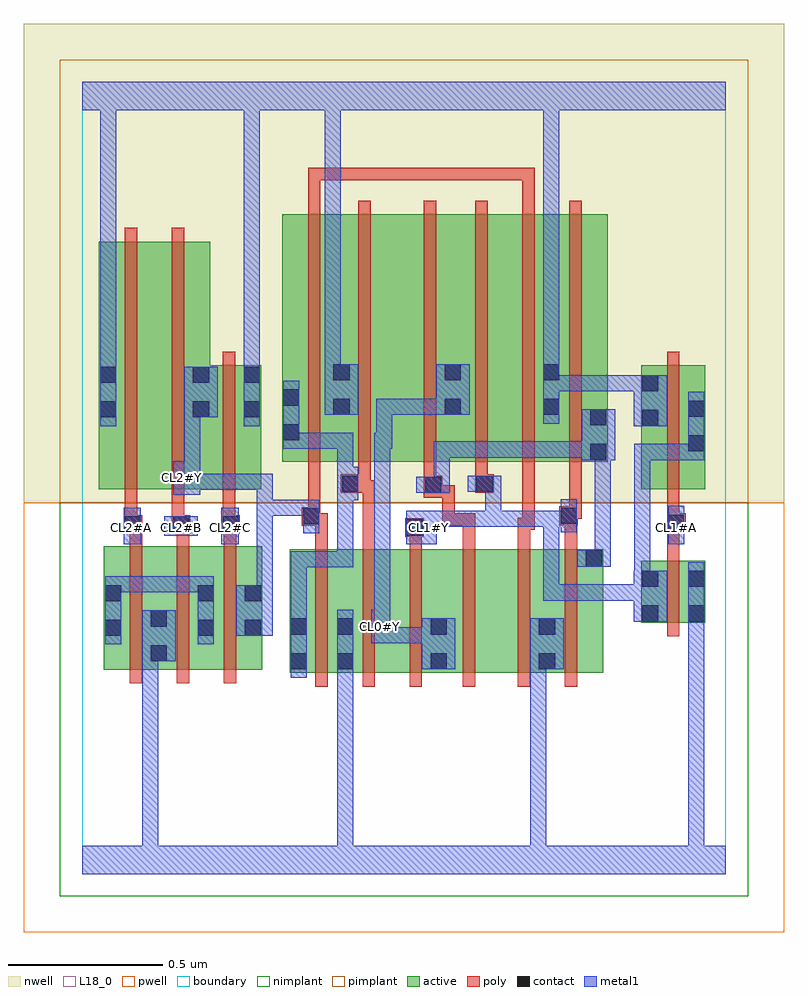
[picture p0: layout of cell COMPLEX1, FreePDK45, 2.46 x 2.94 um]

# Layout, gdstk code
import gdstk
lib = gdstk.Library(unit=1e-6, precision=1e-09)
def R(c, l, rs):  # rectangles x0, y0, x1, y1
    for r in rs: c.add(gdstk.rectangle(r[:2], r[2:], *l))
def A(c, l, x, y, w, h, nx, ny, dx, dy):  # array of equal rectangles
    R(c, l, [(x+i*dx, y+j*dy, x+i*dx+w, y+j*dy+h) for i in range(nx) for j in range(ny)])
active = (1, 0)
pwell = (2, 0)
nwell = (3, 0)
nimplant = (4, 0)
pimplant = (5, 0)
poly = (9, 0)
contact = (10, 0)
metal1 = (11, 0)
L18_0 = (18, 0)
boundary = (235, 0)

complex1 = lib.new_cell('COMPLEX1')
R(complex1, active, [(0.67,0.65,0.88,1.05), (0.67,0.65,0.73,1.05), (0.82,0.65,0.88,0.83), (0.82,0.65,1.002,1.05), (1.002,0.65,1.182,1.05), (1.122,0.65,1.182,0.83), (1.122,0.65,1.326,1.05), (1.326,0.65,1.532,1.05), (1.472,0.65,1.684,1.05), (1.472,0.65,1.532,0.83), (0.07,0.66,0.13,1.06), (0.07,0.66,0.278,1.06), (0.218,0.66,0.43,1.06), (0.218,0.66,0.278,0.93), (0.37,0.66,0.582,1.06), (0.37,0.66,0.43,1.012), (0.522,0.66,0.582,1.06), (1.624,0.756,1.684,1.05), (1.806,0.812,1.866,1.012), (1.806,0.812,2.014,1.012), (1.954,0.812,2.014,1.012), (0.054,1.244,0.234,2.044), (0.054,1.244,0.114,2.044), (0.234,1.244,0.414,2.044), (0.354,1.244,0.414,1.644), (0.354,1.244,0.578,1.644), (0.518,1.244,0.578,1.644), (1.806,1.244,1.866,1.644), (1.806,1.244,2.014,1.644), (1.954,1.244,2.014,1.644), (0.646,1.332,0.706,2.044), (0.646,1.332,0.868,2.132), (0.808,1.332,0.988,2.132), (0.988,1.332,1.228,2.132), (1.168,1.332,1.366,2.132), (1.366,1.332,1.546,2.132), (1.486,1.332,1.546,2.044), (1.486,1.332,1.698,2.132), (1.638,1.332,1.698,2.044), (1.168,1.354,1.228,2.044), (0.808,1.39,0.868,2.044)])
R(complex1, pwell, [(-0.188,-0.188,2.268,1.2)])
R(complex1, nwell, [(-0.188,1.2,2.268,2.748)])
R(complex1, nimplant, [(-0.072,-0.072,2.152,1.2)])
R(complex1, pimplant, [(-0.072,1.2,2.152,2.632)])
A(complex1, poly, 0.754, 0.606, 0.04, 0.488, 3, 1, 0.152, 0)
A(complex1, poly, 0.154, 0.616, 0.04, 0.488, 3, 1, 0.152, 0)
A(complex1, poly, 0.154, 1.064, 0.04, 0.076, 3, 1, 0.152, 0)
A(complex1, poly, 1.27, 1.288, 0.04, 0.888, 3, 1, 0.152, 0)
R(complex1, poly, [(1.23,0.606,1.27,1.094), (1.408,0.606,1.448,1.094), (1.56,0.606,1.6,1.094), (1.89,0.768,1.93,1.056), (1.89,1.016,1.93,1.146), (0.754,1.054,0.794,1.166), (0.906,1.054,0.946,1.272), (1.058,1.054,1.098,1.13), (1.23,1.054,1.27,1.166), (1.408,1.054,1.448,1.152), (1.56,1.054,1.6,1.168), (1.044,1.09,1.104,1.15), (0.134,1.1,0.194,1.16), (0.29,1.1,0.35,1.16), (0.45,1.1,0.51,1.16), (1.89,1.106,1.93,1.146), (1.89,1.106,1.93,1.146), (1.89,1.106,1.95,1.166), (1.408,1.112,1.462,1.152), (1.422,1.112,1.462,1.152), (1.422,1.112,1.462,1.152), (1.422,1.112,1.462,1.328), (0.138,1.12,0.178,1.16), (0.138,1.12,0.178,1.16), (0.138,1.12,0.178,1.24), (0.29,1.12,0.33,1.16), (0.29,1.12,0.33,1.16), (0.29,1.12,0.33,1.24), (0.454,1.12,0.494,1.16), (0.454,1.12,0.494,1.16), (0.454,1.12,0.494,1.24), (0.71,1.126,0.77,1.186), (0.73,1.126,0.77,1.166), (0.73,1.126,0.794,1.166), (1.164,1.126,1.204,1.166), (1.164,1.126,1.204,1.256), (1.164,1.126,1.27,1.166), (1.23,1.126,1.27,1.166), (1.89,1.126,1.93,1.24), (1.542,1.128,1.602,1.188), (0.73,1.146,0.77,1.328), (1.562,1.148,1.602,1.188), (1.562,1.148,1.614,1.188), (1.574,1.148,1.614,1.328), (0.138,1.2,0.178,2.088), (0.29,1.2,0.33,2.088), (0.454,1.2,0.494,1.688), (1.89,1.2,1.93,1.688), (1.104,1.216,1.164,1.288), (1.124,1.216,1.204,1.256), (1.164,1.216,1.204,1.256), (0.836,1.232,0.932,1.292), (0.892,1.232,0.932,1.272), (0.892,1.232,0.946,1.272), (1.27,1.232,1.33,1.292), (1.104,1.248,1.144,1.328), (0.892,1.252,0.932,1.328), (1.27,1.252,1.31,1.328), (0.73,1.288,0.77,2.176), (0.892,1.288,0.932,2.176), (1.104,1.288,1.144,2.176), (0.73,2.136,0.77,2.282), (1.422,2.136,1.462,2.282), (0.73,2.242,0.77,2.282), (0.73,2.242,0.77,2.282), (0.73,2.242,0.77,2.282), (0.73,2.242,0.978,2.282), (0.938,2.242,0.978,2.282), (0.938,2.242,1.084,2.282), (1.044,2.242,1.084,2.282), (1.044,2.242,1.084,2.282), (1.044,2.242,1.084,2.282), (1.044,2.242,1.342,2.282), (1.302,2.242,1.342,2.282), (1.302,2.242,1.342,2.282), (1.302,2.242,1.342,2.282), (1.302,2.242,1.462,2.282), (1.422,2.242,1.462,2.282), (1.422,2.242,1.462,2.282), (1.422,2.242,1.462,2.282)])
R(complex1, contact, [(0.674,0.662,0.726,0.714), (0.824,0.662,0.876,0.714), (1.126,0.662,1.178,0.714), (1.476,0.662,1.528,0.714), (0.222,0.688,0.274,0.74), (0.074,0.77,0.126,0.822), (0.374,0.77,0.426,0.822), (0.526,0.77,0.578,0.822), (0.674,0.774,0.726,0.826), (0.824,0.774,0.876,0.826), (1.126,0.774,1.178,0.826), (1.476,0.774,1.528,0.826), (0.222,0.8,0.274,0.852), (1.81,0.816,1.862,0.868), (1.958,0.816,2.01,0.868), (0.074,0.882,0.126,0.934), (0.374,0.882,0.426,0.934), (0.526,0.882,0.578,0.934), (1.81,0.928,1.862,0.98), (1.958,0.928,2.01,0.98), (1.628,0.994,1.68,1.046), (1.048,1.094,1.1,1.146), (0.138,1.104,0.19,1.156), (0.294,1.104,0.346,1.156), (0.454,1.104,0.506,1.156), (1.894,1.11,1.946,1.162), (0.714,1.13,0.766,1.182), (1.546,1.132,1.598,1.184), (1.108,1.232,1.16,1.284), (0.84,1.236,0.892,1.288), (1.274,1.236,1.326,1.288), (1.642,1.338,1.694,1.39), (1.958,1.366,2.01,1.418), (0.65,1.402,0.702,1.454), (1.81,1.448,1.862,1.5), (1.642,1.45,1.694,1.502), (0.058,1.476,0.11,1.528), (0.358,1.476,0.41,1.528), (0.522,1.476,0.574,1.528), (1.958,1.478,2.01,1.53), (0.812,1.484,0.864,1.536), (1.172,1.484,1.224,1.536), (1.49,1.484,1.542,1.536), (0.65,1.514,0.702,1.566), (1.81,1.56,1.862,1.612), (0.058,1.588,0.11,1.64), (0.358,1.588,0.41,1.64), (0.522,1.588,0.574,1.64), (0.812,1.596,0.864,1.648), (1.172,1.596,1.224,1.648), (1.49,1.596,1.542,1.648)])
R(complex1, metal1, [(0,0,2.08,0.092), (0.194,0.04,0.246,0.74), (0.824,0.04,0.876,0.092), (0.824,0.04,0.876,0.092), (0.824,0.04,0.876,0.092), (0.824,0.04,0.876,0.092), (0.824,0.04,0.876,0.092), (0.824,0.04,0.876,0.092), (0.824,0.04,0.876,0.092), (0.824,0.04,0.876,0.092), (0.824,0.04,0.876,0.092), (0.824,0.04,0.876,0.092), (0.824,0.04,0.876,0.092), (0.824,0.04,0.876,0.092), (0.824,0.04,0.876,0.686), (1.448,0.04,1.5,0.092), (1.448,0.04,1.5,0.092), (1.448,0.04,1.5,0.092), (1.448,0.04,1.5,0.092), (1.448,0.04,1.5,0.092), (1.448,0.04,1.5,0.092), (1.448,0.04,1.5,0.092), (1.448,0.04,1.5,0.092), (1.448,0.04,1.5,0.714), (1.958,0.04,2.01,0.092), (1.958,0.04,2.01,0.092), (1.958,0.04,2.01,0.092), (1.958,0.04,2.01,0.092), (1.958,0.04,2.01,0.092), (1.958,0.04,2.01,0.092), (1.958,0.04,2.01,0.604), (1.958,0.552,2.01,0.604), (1.958,0.552,2.01,0.604), (1.958,0.552,2.01,0.604), (1.958,0.552,2.01,0.604), (1.958,0.552,2.01,0.604), (1.958,0.552,2.01,0.604), (1.958,0.552,2.01,0.604), (1.958,0.552,2.01,0.604), (1.958,0.552,2.01,0.604), (1.958,0.552,2.01,0.84), (0.674,0.634,0.726,0.854), (0.824,0.634,0.876,0.854), (1.098,0.662,1.206,0.826), (1.448,0.662,1.5,0.714), (1.448,0.662,1.5,0.714), (1.448,0.662,1.5,0.714), (1.448,0.662,1.5,0.714), (1.448,0.662,1.556,0.826), (0.194,0.688,0.246,0.74), (0.194,0.688,0.246,0.74), (0.194,0.688,0.246,0.74), (0.194,0.688,0.246,0.74), (0.194,0.688,0.246,0.74), (0.194,0.688,0.246,0.74), (0.194,0.688,0.246,0.74), (0.194,0.688,0.246,0.74), (0.194,0.688,0.246,0.74), (0.194,0.688,0.246,0.74), (0.194,0.688,0.246,0.74), (0.194,0.688,0.246,0.74), (0.194,0.688,0.302,0.852), (0.074,0.742,0.126,0.962), (0.374,0.742,0.426,0.962), (0.934,0.746,0.996,0.854), (0.944,0.746,0.996,0.798), (0.944,0.746,0.996,0.798), (0.944,0.746,1.15,0.798), (1.098,0.746,1.15,0.798), (1.098,0.746,1.15,0.798), (0.498,0.77,0.616,0.934), (1.958,0.788,2.01,1.008), (0.674,0.802,0.726,1.044), (0.944,0.802,0.996,0.854), (0.944,0.802,0.996,0.854), (0.944,0.802,0.996,1.426), (1.782,0.816,1.89,0.98), (0.564,0.882,0.616,1.21), (1.49,0.884,1.542,0.936), (1.49,0.884,1.598,0.936), (1.49,0.884,1.542,1.174), (1.546,0.884,1.598,0.936), (1.546,0.884,1.834,0.936), (1.782,0.884,1.834,0.936), (1.782,0.884,1.834,0.936), (0.074,0.91,0.126,0.962), (0.074,0.91,0.126,0.962), (0.074,0.91,0.236,0.962), (0.184,0.91,0.236,0.962), (0.184,0.91,0.236,0.962), (0.184,0.91,0.236,0.962), (0.184,0.91,0.426,0.962), (1.784,0.928,1.836,0.98), (1.784,0.928,1.836,0.98), (1.784,0.928,1.836,0.98), (1.784,0.928,1.836,0.98), (1.784,0.928,1.836,0.98), (1.784,0.928,1.836,0.98), (1.784,0.928,1.836,1.39), (0.674,0.992,0.726,1.044), (0.674,0.992,0.726,1.044), (0.674,0.992,0.726,1.044), (0.674,0.992,0.876,1.044), (0.824,0.992,0.876,1.044), (0.824,0.992,0.876,1.26), (1.6,0.994,1.708,1.046), (1.656,0.994,1.708,1.046), (1.656,0.994,1.708,1.046), (1.656,0.994,1.708,1.39), (0.134,1.066,0.19,1.184), (0.45,1.066,0.506,1.184), (1.048,1.066,1.146,1.174), (1.894,1.066,1.946,1.19), (0.266,1.094,0.374,1.156), (0.714,1.102,0.766,1.21), (1.546,1.104,1.598,1.212), (1.094,1.122,1.146,1.174), (1.094,1.122,1.146,1.174), (1.094,1.122,1.354,1.174), (1.302,1.122,1.354,1.174), (1.302,1.122,1.354,1.174), (1.302,1.122,1.354,1.174), (1.302,1.122,1.488,1.174), (1.302,1.122,1.354,1.288), (1.436,1.122,1.488,1.174), (1.436,1.122,1.542,1.174), (1.49,1.122,1.542,1.174), (1.49,1.122,1.542,1.174), (1.49,1.122,1.542,1.174), (1.49,1.122,1.598,1.174), (0.564,1.158,0.616,1.21), (0.564,1.158,0.616,1.21), (0.564,1.158,0.616,1.21), (0.564,1.158,0.616,1.21), (0.564,1.158,0.766,1.21), (0.564,1.158,0.616,1.294), (0.824,1.208,0.876,1.26), (0.824,1.208,0.892,1.26), (0.824,1.208,0.876,1.426), (0.84,1.208,0.892,1.316), (0.294,1.226,0.382,1.334), (1.08,1.232,1.188,1.284), (1.136,1.232,1.188,1.284), (1.136,1.232,1.188,1.284), (1.136,1.232,1.188,1.398), (1.246,1.236,1.354,1.288), (1.302,1.236,1.354,1.288), (1.302,1.236,1.354,1.288), (0.33,1.242,0.382,1.294), (0.33,1.242,0.382,1.294), (0.33,1.242,0.616,1.294), (0.33,1.282,0.382,1.528), (1.614,1.338,1.722,1.502), (1.656,1.338,1.708,1.39), (1.656,1.338,1.708,1.39), (1.784,1.338,1.836,1.39), (1.784,1.338,2.01,1.39), (1.958,1.338,2.01,1.39), (1.958,1.338,2.01,1.39), (1.958,1.338,2.01,1.558), (1.136,1.346,1.188,1.398), (1.136,1.346,1.378,1.398), (1.326,1.346,1.378,1.398), (1.326,1.346,1.378,1.398), (1.326,1.346,1.378,1.398), (1.326,1.346,1.488,1.398), (1.436,1.346,1.488,1.398), (1.436,1.346,1.488,1.398), (1.436,1.346,1.488,1.398), (1.436,1.346,1.666,1.398), (1.614,1.346,1.666,1.398), (1.614,1.346,1.666,1.398), (0.65,1.374,0.702,1.594), (0.65,1.374,0.726,1.426), (0.674,1.374,0.726,1.426), (0.674,1.374,0.876,1.426), (0.824,1.374,0.876,1.426), (0.944,1.374,1.002,1.426), (0.95,1.374,1.002,1.536), (0.058,1.448,0.11,1.668), (0.522,1.448,0.574,1.668), (1.782,1.448,1.89,1.612), (1.49,1.456,1.542,1.676), (0.33,1.476,0.438,1.64), (0.784,1.484,0.892,1.648), (0.95,1.484,1.002,1.536), (0.95,1.484,1.188,1.536), (1.136,1.484,1.188,1.536), (1.136,1.484,1.196,1.536), (1.144,1.484,1.252,1.648), (1.49,1.56,1.724,1.612), (1.672,1.56,1.724,1.612), (1.672,1.56,1.724,1.612), (1.672,1.56,1.724,1.612), (1.672,1.56,1.834,1.612), (1.782,1.56,1.834,1.612), (1.782,1.56,1.834,1.612), (1.782,1.56,1.834,1.612), (1.782,1.56,1.834,1.612), (1.782,1.56,1.834,1.612), (1.782,1.56,1.834,1.612), (1.782,1.56,1.834,1.612), (1.782,1.56,1.834,1.612), (0.784,1.596,0.836,1.648), (0.784,1.596,0.836,1.648), (0.784,1.596,0.836,1.648), (0.784,1.596,0.836,1.648), (0.784,1.596,0.836,2.52), (0.058,1.616,0.11,1.668), (0.058,1.616,0.11,1.668), (0.058,1.616,0.11,1.668), (0.058,1.616,0.11,1.668), (0.058,1.616,0.11,2.52), (0.522,1.616,0.574,1.668), (0.522,1.616,0.574,1.668), (0.522,1.616,0.574,1.668), (0.522,1.616,0.574,1.668), (0.522,1.616,0.574,1.668), (0.522,1.616,0.574,1.668), (0.522,1.616,0.574,1.668), (0.522,1.616,0.574,1.668), (0.522,1.616,0.574,1.668), (0.522,1.616,0.574,1.668), (0.522,1.616,0.574,1.668), (0.522,1.616,0.574,1.668), (0.522,1.616,0.574,1.668), (0.522,1.616,0.574,1.668), (0.522,1.616,0.574,2.52), (1.49,1.624,1.542,1.676), (1.49,1.624,1.542,1.676), (1.49,1.624,1.542,2.52), (0,2.468,2.08,2.56), (0.058,2.468,0.11,2.52), (0.058,2.468,0.11,2.52), (0.058,2.468,0.11,2.52), (0.058,2.468,0.11,2.52), (0.522,2.468,0.574,2.52), (0.522,2.468,0.574,2.52), (0.784,2.468,0.836,2.52), (0.784,2.468,0.836,2.52), (0.784,2.468,0.836,2.52), (0.784,2.468,0.836,2.52), (1.49,2.468,1.542,2.52), (1.49,2.468,1.542,2.52), (1.49,2.468,1.542,2.52), (1.49,2.468,1.542,2.52), (1.49,2.468,1.542,2.52), (1.49,2.468,1.542,2.52)])
A(complex1, L18_0, 0.134, 1.094, 0.052, 0.052, 3, 1, 0.16, 0)
R(complex1, L18_0, [(0,0,2.08,0.092), (0.194,0.04,0.246,0.74), (0.824,0.04,0.876,0.092), (0.824,0.04,0.876,0.092), (0.824,0.04,0.876,0.092), (0.824,0.04,0.876,0.092), (0.824,0.04,0.876,0.092), (0.824,0.04,0.876,0.092), (0.824,0.04,0.876,0.092), (0.824,0.04,0.876,0.092), (0.824,0.04,0.876,0.092), (0.824,0.04,0.876,0.092), (0.824,0.04,0.876,0.092), (0.824,0.04,0.876,0.092), (0.824,0.04,0.876,0.686), (1.448,0.04,1.5,0.092), (1.448,0.04,1.5,0.092), (1.448,0.04,1.5,0.092), (1.448,0.04,1.5,0.092), (1.448,0.04,1.5,0.092), (1.448,0.04,1.5,0.092), (1.448,0.04,1.5,0.092), (1.448,0.04,1.5,0.092), (1.448,0.04,1.5,0.714), (1.958,0.04,2.01,0.092), (1.958,0.04,2.01,0.092), (1.958,0.04,2.01,0.092), (1.958,0.04,2.01,0.092), (1.958,0.04,2.01,0.092), (1.958,0.04,2.01,0.092), (1.958,0.04,2.01,0.604), (1.958,0.552,2.01,0.604), (1.958,0.552,2.01,0.604), (1.958,0.552,2.01,0.604), (1.958,0.552,2.01,0.604), (1.958,0.552,2.01,0.604), (1.958,0.552,2.01,0.604), (1.958,0.552,2.01,0.604), (1.958,0.552,2.01,0.604), (1.958,0.552,2.01,0.604), (1.958,0.552,2.01,0.84), (0.824,0.634,0.876,0.854), (1.098,0.662,1.206,0.826), (1.448,0.662,1.5,0.714), (1.448,0.662,1.5,0.714), (1.448,0.662,1.5,0.714), (1.448,0.662,1.5,0.714), (1.448,0.662,1.556,0.826), (0.194,0.688,0.246,0.74), (0.194,0.688,0.246,0.74), (0.194,0.688,0.246,0.74), (0.194,0.688,0.246,0.74), (0.194,0.688,0.246,0.74), (0.194,0.688,0.246,0.74), (0.194,0.688,0.246,0.74), (0.194,0.688,0.246,0.74), (0.194,0.688,0.246,0.74), (0.194,0.688,0.246,0.74), (0.194,0.688,0.246,0.74), (0.194,0.688,0.246,0.74), (0.194,0.688,0.302,0.852), (0.934,0.746,0.996,0.854), (0.944,0.746,0.996,0.798), (0.944,0.746,0.996,0.798), (0.944,0.746,1.15,0.798), (1.098,0.746,1.15,0.798), (1.098,0.746,1.15,0.798), (0.498,0.77,0.616,0.934), (0.934,0.774,0.986,0.826), (1.958,0.788,2.01,1.008), (0.944,0.802,0.996,0.854), (0.944,0.802,0.996,0.854), (0.944,0.802,0.996,1.426), (1.782,0.816,1.89,0.98), (0.564,0.882,0.616,1.21), (1.49,0.884,1.542,0.936), (1.49,0.884,1.598,0.936), (1.49,0.884,1.542,1.174), (1.546,0.884,1.598,0.936), (1.546,0.884,1.834,0.936), (1.782,0.884,1.834,0.936), (1.782,0.884,1.834,0.936), (1.784,0.928,1.836,0.98), (1.784,0.928,1.836,0.98), (1.784,0.928,1.836,0.98), (1.784,0.928,1.836,0.98), (1.784,0.928,1.836,0.98), (1.784,0.928,1.836,0.98), (1.784,0.928,1.836,1.39), (0.134,1.066,0.19,1.184), (0.45,1.066,0.506,1.184), (1.048,1.066,1.146,1.174), (1.894,1.066,1.946,1.19), (0.266,1.094,0.374,1.156), (1.094,1.094,1.146,1.146), (1.894,1.094,1.946,1.146), (0.714,1.102,0.766,1.21), (1.546,1.104,1.598,1.212), (1.094,1.122,1.146,1.174), (1.094,1.122,1.146,1.174), (1.094,1.122,1.354,1.174), (1.302,1.122,1.354,1.174), (1.302,1.122,1.354,1.174), (1.302,1.122,1.354,1.174), (1.302,1.122,1.354,1.288), (1.302,1.122,1.488,1.174), (1.436,1.122,1.488,1.174), (1.436,1.122,1.542,1.174), (1.49,1.122,1.542,1.174), (1.49,1.122,1.542,1.174), (1.49,1.122,1.542,1.174), (1.49,1.122,1.598,1.174), (0.564,1.158,0.616,1.21), (0.564,1.158,0.616,1.21), (0.564,1.158,0.616,1.21), (0.564,1.158,0.616,1.21), (0.564,1.158,0.616,1.294), (0.564,1.158,0.766,1.21), (0.294,1.226,0.382,1.334), (1.246,1.236,1.354,1.288), (1.302,1.236,1.354,1.288), (1.302,1.236,1.354,1.288), (0.33,1.242,0.382,1.294), (0.33,1.242,0.382,1.294), (0.33,1.242,0.616,1.294), (0.294,1.254,0.346,1.306), (0.33,1.282,0.382,1.528), (1.784,1.338,1.836,1.39), (1.784,1.338,2.01,1.39), (1.958,1.338,2.01,1.558), (1.958,1.338,2.01,1.39), (1.958,1.338,2.01,1.39), (0.944,1.374,1.002,1.426), (0.95,1.374,1.002,1.536), (0.058,1.448,0.11,1.668), (0.522,1.448,0.574,1.668), (1.782,1.448,1.89,1.612), (1.49,1.456,1.542,1.676), (0.33,1.476,0.438,1.64), (0.784,1.484,0.892,1.648), (0.95,1.484,1.002,1.536), (0.95,1.484,1.188,1.536), (1.136,1.484,1.188,1.536), (1.136,1.484,1.196,1.536), (1.144,1.484,1.252,1.648), (1.49,1.56,1.724,1.612), (1.672,1.56,1.724,1.612), (1.672,1.56,1.724,1.612), (1.672,1.56,1.724,1.612), (1.672,1.56,1.834,1.612), (1.782,1.56,1.834,1.612), (1.782,1.56,1.834,1.612), (1.782,1.56,1.834,1.612), (1.782,1.56,1.834,1.612), (1.782,1.56,1.834,1.612), (1.782,1.56,1.834,1.612), (1.782,1.56,1.834,1.612), (1.782,1.56,1.834,1.612), (0.784,1.596,0.836,1.648), (0.784,1.596,0.836,1.648), (0.784,1.596,0.836,1.648), (0.784,1.596,0.836,1.648), (0.784,1.596,0.836,2.52), (0.058,1.616,0.11,1.668), (0.058,1.616,0.11,1.668), (0.058,1.616,0.11,1.668), (0.058,1.616,0.11,1.668), (0.058,1.616,0.11,2.52), (0.522,1.616,0.574,1.668), (0.522,1.616,0.574,1.668), (0.522,1.616,0.574,1.668), (0.522,1.616,0.574,1.668), (0.522,1.616,0.574,1.668), (0.522,1.616,0.574,1.668), (0.522,1.616,0.574,1.668), (0.522,1.616,0.574,1.668), (0.522,1.616,0.574,1.668), (0.522,1.616,0.574,1.668), (0.522,1.616,0.574,1.668), (0.522,1.616,0.574,1.668), (0.522,1.616,0.574,1.668), (0.522,1.616,0.574,1.668), (0.522,1.616,0.574,2.52), (1.49,1.624,1.542,1.676), (1.49,1.624,1.542,1.676), (1.49,1.624,1.542,2.52), (0,2.468,2.08,2.56), (0.058,2.468,0.11,2.52), (0.058,2.468,0.11,2.52), (0.058,2.468,0.11,2.52), (0.058,2.468,0.11,2.52), (0.522,2.468,0.574,2.52), (0.522,2.468,0.574,2.52), (0.784,2.468,0.836,2.52), (0.784,2.468,0.836,2.52), (0.784,2.468,0.836,2.52), (0.784,2.468,0.836,2.52), (1.49,2.468,1.542,2.52), (1.49,2.468,1.542,2.52), (1.49,2.468,1.542,2.52), (1.49,2.468,1.542,2.52), (1.49,2.468,1.542,2.52), (1.49,2.468,1.542,2.52)])
R(complex1, boundary, [(0,0,2.08,2.56)])
complex1.add(gdstk.Label('CL0#Y', (0.96,0.8), layer=11, texttype=0))
complex1.add(gdstk.Label('CL1#A', (1.92,1.12), layer=11, texttype=0))
complex1.add(gdstk.Label('CL1#Y', (1.12,1.12), layer=11, texttype=0))
complex1.add(gdstk.Label('CL2#A', (0.16,1.12), layer=11, texttype=0))
complex1.add(gdstk.Label('CL2#B', (0.32,1.12), layer=11, texttype=0))
complex1.add(gdstk.Label('CL2#C', (0.48,1.12), layer=11, texttype=0))
complex1.add(gdstk.Label('CL2#Y', (0.32,1.28), layer=11, texttype=0))

lib.write_gds('COMPLEX1.gds')
